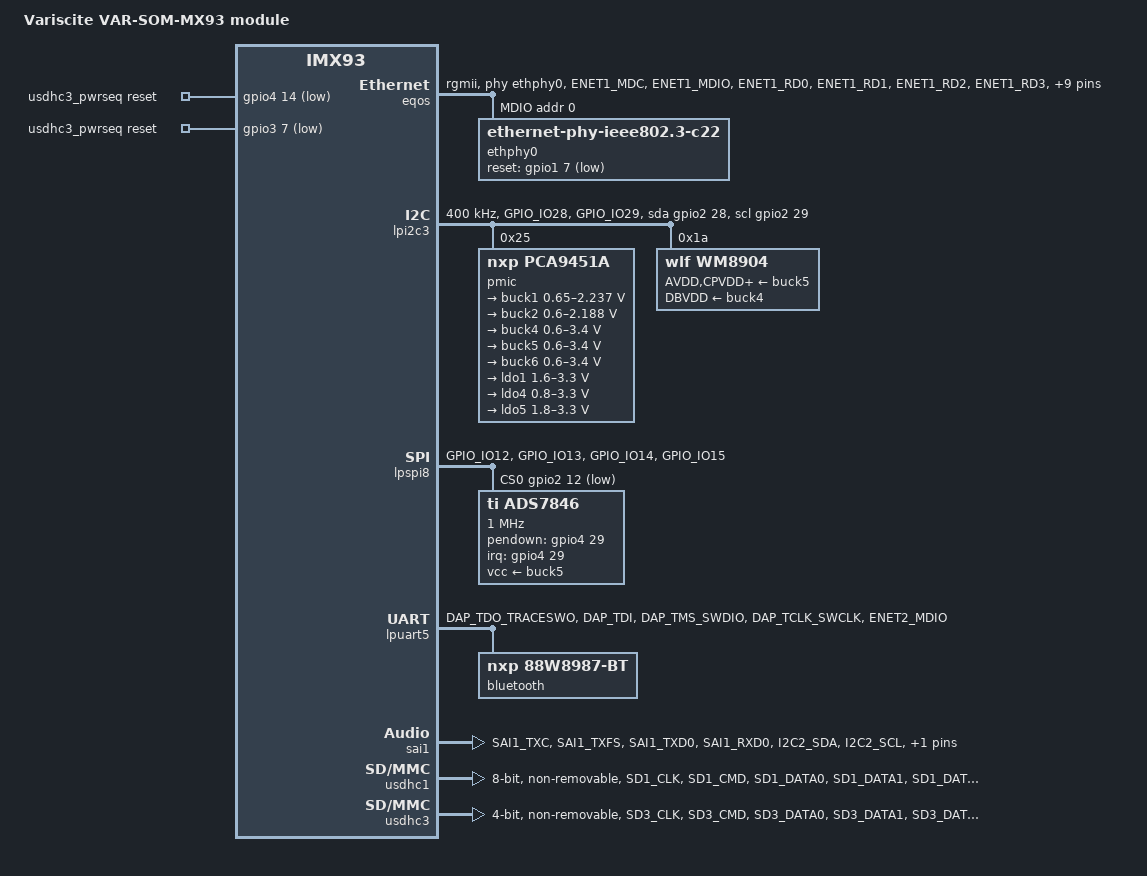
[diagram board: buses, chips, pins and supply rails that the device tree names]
// SPDX-License-Identifier: (GPL-2.0+ OR MIT)
/*
 * Copyright 2022 NXP
 * Copyright 2023 Variscite Ltd.
 */

/dts-v1/;

#include "imx93.dtsi"

/{
	model = "Variscite VAR-SOM-MX93 module";
	compatible = "variscite,var-som-mx93", "fsl,imx93";

	sound {
		compatible = "simple-audio-card";
		simple-audio-card,bitclock-master = <&codec_dai>;
		simple-audio-card,format = "i2s";
		simple-audio-card,frame-master = <&codec_dai>;
		simple-audio-card,name = "wm8904-audio";
		simple-audio-card,routing =
			"Headphone Jack", "HPOUTL",
			"Headphone Jack", "HPOUTR",
			"IN2L", "Line In Jack",
			"IN2R", "Line In Jack",
			"IN1L", "Microphone Jack",
			"IN1R", "Microphone Jack";
		simple-audio-card,widgets =
			"Microphone", "Microphone Jack",
			"Headphone", "Headphone Jack",
			"Line", "Line In Jack";
		simple-audio-card,mclk-fs = <256>;

		codec_dai: simple-audio-card,codec {
			sound-dai = <&wm8904>;
		};

		simple-audio-card,cpu {
			sound-dai = <&sai1>;
		};
	};

	usdhc3_pwrseq: mmc-pwrseq {
		compatible = "mmc-pwrseq-simple";
		post-power-on-delay-ms = <100>;
		power-off-delay-us = <10000>;
		reset-gpios = <&gpio4 14 GPIO_ACTIVE_LOW>,	/* WIFI_RESET */
			      <&gpio3 7 GPIO_ACTIVE_LOW>;	/* WIFI_PWR_EN */
	};
};

&eqos {
	pinctrl-names = "default";
	pinctrl-0 = <&pinctrl_eqos>;
	/*
	 * The required RGMII TX and RX 2ns delays are implemented directly
	 * in hardware via passive delay elements on the SOM PCB.
	 * No delay configuration is needed in software via PHY driver.
	 */
	phy-mode = "rgmii";
	phy-handle = <&ethphy0>;
	snps,clk-csr = <5>;
	status = "okay";

	mdio {
		compatible = "snps,dwmac-mdio";
		#address-cells = <1>;
		#size-cells = <0>;
		clock-frequency = <1000000>;

		ethphy0: ethernet-phy@0 {
			compatible = "ethernet-phy-ieee802.3-c22";
			reg = <0>;
			eee-broken-1000t;
			reset-gpios = <&gpio1 7 GPIO_ACTIVE_LOW>;
			reset-assert-us = <10000>;
			reset-deassert-us = <100000>;

			leds {
				#address-cells = <1>;
				#size-cells = <0>;

				led@0 {
					reg = <0>;
					color = <LED_COLOR_ID_YELLOW>;
					function = LED_FUNCTION_LAN;
					linux,default-trigger = "netdev";
				};

				led@1 {
					reg = <1>;
					color = <LED_COLOR_ID_GREEN>;
					function = LED_FUNCTION_LAN;
					linux,default-trigger = "netdev";
				};
			};
		};
	};
};

&lpi2c3 {
	clock-frequency = <400000>;
	pinctrl-names = "default", "sleep", "gpio";
	pinctrl-0 = <&pinctrl_lpi2c3>;
	pinctrl-1 = <&pinctrl_lpi2c3_gpio>;
	pinctrl-2 = <&pinctrl_lpi2c3_gpio>;
	scl-gpios = <&gpio2 29 GPIO_ACTIVE_HIGH>;
	sda-gpios = <&gpio2 28 GPIO_ACTIVE_HIGH>;
	status = "okay";

	pmic@25 {
		compatible = "nxp,pca9451a";
		reg = <0x25>;

		regulators {
			buck1: BUCK1 {
				regulator-name = "BUCK1";
				regulator-min-microvolt = <650000>;
				regulator-max-microvolt = <2237500>;
				regulator-boot-on;
				regulator-always-on;
				regulator-ramp-delay = <3125>;
			};

			buck2: BUCK2 {
				regulator-name = "BUCK2";
				regulator-min-microvolt = <600000>;
				regulator-max-microvolt = <2187500>;
				regulator-boot-on;
				regulator-always-on;
				regulator-ramp-delay = <3125>;
			};

			buck4: BUCK4 {
				regulator-name = "BUCK4";
				regulator-min-microvolt = <600000>;
				regulator-max-microvolt = <3400000>;
				regulator-boot-on;
				regulator-always-on;
			};

			buck5: BUCK5 {
				regulator-name = "BUCK5";
				regulator-min-microvolt = <600000>;
				regulator-max-microvolt = <3400000>;
				regulator-boot-on;
				regulator-always-on;
			};

			buck6: BUCK6 {
				regulator-name = "BUCK6";
				regulator-min-microvolt = <600000>;
				regulator-max-microvolt = <3400000>;
				regulator-boot-on;
				regulator-always-on;
			};

			ldo1: LDO1 {
				regulator-name = "LDO1";
				regulator-min-microvolt = <1600000>;
				regulator-max-microvolt = <3300000>;
				regulator-boot-on;
				regulator-always-on;
			};

			ldo4: LDO4 {
				regulator-name = "LDO4";
				regulator-min-microvolt = <800000>;
				regulator-max-microvolt = <3300000>;
				regulator-boot-on;
				regulator-always-on;
			};

			ldo5: LDO5 {
				regulator-name = "LDO5";
				regulator-min-microvolt = <1800000>;
				regulator-max-microvolt = <3300000>;
				regulator-boot-on;
				regulator-always-on;
			};
		};
	};

	wm8904: audio-codec@1a {
		compatible = "wlf,wm8904";
		reg = <0x1a>;
		#sound-dai-cells = <0>;
		clocks = <&clk IMX93_CLK_SAI1_GATE>;
		clock-names = "mclk";
		AVDD-supply = <&buck5>;
		CPVDD-supply = <&buck5>;
		DBVDD-supply = <&buck4>;
		DCVDD-supply = <&buck5>;
		MICVDD-supply = <&buck5>;
		wlf,drc-cfg-names = "default", "peaklimiter", "tradition",
				    "soft", "music";
		/*
		 * Config registers per name, respectively:
		 * KNEE_IP = 0,   KNEE_OP = 0,     HI_COMP = 1,   LO_COMP = 1
		 * KNEE_IP = -24, KNEE_OP = -6,    HI_COMP = 1/4, LO_COMP = 1
		 * KNEE_IP = -42, KNEE_OP = -3,    HI_COMP = 0,   LO_COMP = 1
		 * KNEE_IP = -45, KNEE_OP = -9,    HI_COMP = 1/8, LO_COMP = 1
		 * KNEE_IP = -30, KNEE_OP = -10.5, HI_COMP = 1/4, LO_COMP = 1
		 */
		wlf,drc-cfg-regs = /bits/ 16 <0x01af 0x3248 0x0000 0x0000>,
				   /bits/ 16 <0x04af 0x324b 0x0010 0x0408>,
				   /bits/ 16 <0x04af 0x324b 0x0028 0x0704>,
				   /bits/ 16 <0x04af 0x324b 0x0018 0x078c>,
				   /bits/ 16 <0x04af 0x324b 0x0010 0x050e>;
		/* GPIO1 = DMIC_CLK, don't touch others */
		wlf,gpio-cfg = <0x0018>, <0xffff>, <0xffff>, <0xffff>;
	};
};

&lpspi8 {
	pinctrl-names = "default";
	pinctrl-0 = <&pinctrl_lpspi8>;
	cs-gpios = <&gpio2 12 GPIO_ACTIVE_LOW>;
	status = "okay";

	/* Resistive touch controller */
	ads7846: touchscreen@0 {
		compatible = "ti,ads7846";
		reg = <0>;
		pinctrl-names = "default";
		pinctrl-0 = <&pinctrl_restouch>;
		interrupt-parent = <&gpio4>;
		interrupts = <29 IRQ_TYPE_EDGE_FALLING>;
		spi-max-frequency = <1000000>;
		pendown-gpio = <&gpio4 29 0>;
		vcc-supply = <&buck5>;
		ti,x-min = /bits/ 16 <125>;
		ti,x-max = /bits/ 16 <4008>;
		ti,y-min = /bits/ 16 <282>;
		ti,y-max = /bits/ 16 <3864>;
		ti,x-plate-ohms = /bits/ 16 <180>;
		ti,pressure-max = /bits/ 16 <255>;
		ti,debounce-max = /bits/ 16 <10>;
		ti,debounce-tol = /bits/ 16 <3>;
		ti,debounce-rep = /bits/ 16 <1>;
		ti,settle-delay-usec = /bits/ 16 <150>;
		ti,keep-vref-on;
		wakeup-source;
	};
};

/* BT module */
&lpuart5 {
	pinctrl-names = "default";
	pinctrl-0 = <&pinctrl_lpuart5>, <&pinctrl_bluetooth>;
	uart-has-rtscts;
	status = "okay";

	bluetooth {
		compatible = "nxp,88w8987-bt";
	};
};

&sai1 {
	pinctrl-names = "default", "sleep";
	pinctrl-0 = <&pinctrl_sai1>;
	pinctrl-1 = <&pinctrl_sai1_sleep>;
	assigned-clocks = <&clk IMX93_CLK_SAI1>;
	assigned-clock-parents = <&clk IMX93_CLK_AUDIO_PLL>;
	assigned-clock-rates = <12288000>;
	fsl,sai-mclk-direction-output;
	status = "okay";
};

/* eMMC */
&usdhc1 {
	pinctrl-names = "default", "state_100mhz", "state_200mhz";
	pinctrl-0 = <&pinctrl_usdhc1>;
	pinctrl-1 = <&pinctrl_usdhc1>;
	pinctrl-2 = <&pinctrl_usdhc1>;
	bus-width = <8>;
	non-removable;
	status = "okay";
};

/* WiFi */
&usdhc3 {
	pinctrl-names = "default", "state_100mhz", "state_200mhz", "sleep";
	pinctrl-0 = <&pinctrl_usdhc3>, <&pinctrl_usdhc3_wlan>;
	pinctrl-1 = <&pinctrl_usdhc3_100mhz>, <&pinctrl_usdhc3_wlan>;
	pinctrl-2 = <&pinctrl_usdhc3_200mhz>, <&pinctrl_usdhc3_wlan>;
	pinctrl-3 = <&pinctrl_usdhc3_sleep>, <&pinctrl_usdhc3_wlan>;
	bus-width = <4>;
	mmc-pwrseq = <&usdhc3_pwrseq>;
	non-removable;
	wakeup-source;
	status = "okay";
};

&iomuxc {
	pinctrl_bluetooth: bluetoothgrp {
		fsl,pins = <
			MX93_PAD_ENET2_MDIO__GPIO4_IO15		0x51e
		>;
	};

	pinctrl_eqos: eqosgrp {
		fsl,pins = <
			MX93_PAD_ENET1_MDC__ENET_QOS_MDC			0x57e
			MX93_PAD_ENET1_MDIO__ENET_QOS_MDIO			0x57e
			MX93_PAD_ENET1_RD0__ENET_QOS_RGMII_RD0			0x57e
			MX93_PAD_ENET1_RD1__ENET_QOS_RGMII_RD1			0x57e
			MX93_PAD_ENET1_RD2__ENET_QOS_RGMII_RD2			0x57e
			MX93_PAD_ENET1_RD3__ENET_QOS_RGMII_RD3			0x57e
			MX93_PAD_ENET1_RXC__CCM_ENET_QOS_CLOCK_GENERATE_RX_CLK	0x58e
			MX93_PAD_ENET1_RX_CTL__ENET_QOS_RGMII_RX_CTL		0x57e
			MX93_PAD_ENET1_TD0__ENET_QOS_RGMII_TD0			0x57e
			MX93_PAD_ENET1_TD1__ENET_QOS_RGMII_TD1			0x57e
			MX93_PAD_ENET1_TD2__ENET_QOS_RGMII_TD2			0x57e
			MX93_PAD_ENET1_TD3__ENET_QOS_RGMII_TD3			0x57e
			MX93_PAD_ENET1_TXC__CCM_ENET_QOS_CLOCK_GENERATE_TX_CLK	0x58e
			MX93_PAD_ENET1_TX_CTL__ENET_QOS_RGMII_TX_CTL		0x57e
			MX93_PAD_UART2_TXD__GPIO1_IO07				0x51e
		>;
	};

	pinctrl_reg_eqos_phy: regeqosgrp {
		fsl,pins = <
			MX93_PAD_UART2_TXD__GPIO1_IO07			0x51e
		>;
	};

	pinctrl_lpi2c3: lpi2c3grp {
		fsl,pins = <
			MX93_PAD_GPIO_IO28__LPI2C3_SDA		0x40000b9e
			MX93_PAD_GPIO_IO29__LPI2C3_SCL		0x40000b9e
		>;
	};

	pinctrl_lpi2c3_gpio: lpi2c3-gpiogrp {
		fsl,pins = <
			MX93_PAD_GPIO_IO28__GPIO2_IO28		0x40000b9e
			MX93_PAD_GPIO_IO29__GPIO2_IO29		0x40000b9e
		>;
	};

	pinctrl_lpspi8: lpspi8grp {
		fsl,pins = <
			MX93_PAD_GPIO_IO12__GPIO2_IO12		0x31e
			MX93_PAD_GPIO_IO13__LPSPI8_SIN		0x31e
			MX93_PAD_GPIO_IO14__LPSPI8_SOUT		0x31e
			MX93_PAD_GPIO_IO15__LPSPI8_SCK		0x31e
		>;
	};

	pinctrl_lpuart5: lpuart5grp {
		fsl,pins = <
			MX93_PAD_DAP_TDO_TRACESWO__LPUART5_TX   0x31e
			MX93_PAD_DAP_TDI__LPUART5_RX            0x31e
			MX93_PAD_DAP_TMS_SWDIO__LPUART5_RTS_B   0x31e
			MX93_PAD_DAP_TCLK_SWCLK__LPUART5_CTS_B  0x31e
		>;
	};

	pinctrl_restouch: restouchgrp {
		fsl,pins = <
			MX93_PAD_CCM_CLKO4__GPIO4_IO29		0x31e
		>;
	};

	pinctrl_sai1: sai1grp {
		fsl,pins = <
			MX93_PAD_SAI1_TXC__SAI1_TX_BCLK		0x31e
			MX93_PAD_SAI1_TXFS__SAI1_TX_SYNC	0x31e
			MX93_PAD_SAI1_TXD0__SAI1_TX_DATA00	0x31e
			MX93_PAD_SAI1_RXD0__SAI1_RX_DATA00	0x31e
			MX93_PAD_I2C2_SDA__SAI1_RX_BCLK		0x31e
			MX93_PAD_I2C2_SCL__SAI1_RX_SYNC		0x31e
			MX93_PAD_UART2_RXD__SAI1_MCLK		0x31e
		>;
	};

	pinctrl_sai1_sleep: sai1-sleepgrp {
		fsl,pins = <
			MX93_PAD_SAI1_TXC__GPIO1_IO12		0x31e
			MX93_PAD_SAI1_TXFS__GPIO1_IO11		0x31e
			MX93_PAD_SAI1_TXD0__GPIO1_IO13		0x31e
			MX93_PAD_SAI1_RXD0__GPIO1_IO14		0x31e
			MX93_PAD_UART2_RXD__GPIO1_IO06		0x31e
			MX93_PAD_I2C2_SDA__GPIO1_IO03		0x31e
			MX93_PAD_I2C2_SCL__GPIO1_IO02		0x31e
		>;
	};

	pinctrl_usdhc1: usdhc1grp {
		fsl,pins = <
			MX93_PAD_SD1_CLK__USDHC1_CLK		0x15fe
			MX93_PAD_SD1_CMD__USDHC1_CMD		0x13fe
			MX93_PAD_SD1_DATA0__USDHC1_DATA0	0x13fe
			MX93_PAD_SD1_DATA1__USDHC1_DATA1	0x13fe
			MX93_PAD_SD1_DATA2__USDHC1_DATA2	0x13fe
			MX93_PAD_SD1_DATA3__USDHC1_DATA3	0x13fe
			MX93_PAD_SD1_DATA4__USDHC1_DATA4	0x13fe
			MX93_PAD_SD1_DATA5__USDHC1_DATA5	0x13fe
			MX93_PAD_SD1_DATA6__USDHC1_DATA6	0x13fe
			MX93_PAD_SD1_DATA7__USDHC1_DATA7	0x13fe
			MX93_PAD_SD1_STROBE__USDHC1_STROBE	0x15fe
		>;
	};

	pinctrl_usdhc3: usdhc3grp {
		fsl,pins = <
			MX93_PAD_SD3_CLK__USDHC3_CLK		0x1582 /* SDIO_B_CLK */
			MX93_PAD_SD3_CMD__USDHC3_CMD		0x40001382 /* SDIO_B_CMD */
			MX93_PAD_SD3_DATA0__USDHC3_DATA0	0x40001382 /* SDIO_B_D0 */
			MX93_PAD_SD3_DATA1__USDHC3_DATA1	0x40001382 /* SDIO_B_D1 */
			MX93_PAD_SD3_DATA2__USDHC3_DATA2	0x40001382 /* SDIO_B_D2 */
			MX93_PAD_SD3_DATA3__USDHC3_DATA3	0x40001382 /* SDIO_B_D3 */
		>;
	};

	pinctrl_usdhc3_100mhz: usdhc3-100mhzgrp {
		fsl,pins = <
			MX93_PAD_SD3_CLK__USDHC3_CLK		0x158e /* SDIO_B_CLK */
			MX93_PAD_SD3_CMD__USDHC3_CMD		0x4000138e /* SDIO_B_CMD */
			MX93_PAD_SD3_DATA0__USDHC3_DATA0	0x4000138e /* SDIO_B_D0 */
			MX93_PAD_SD3_DATA1__USDHC3_DATA1	0x4000138e /* SDIO_B_D1 */
			MX93_PAD_SD3_DATA2__USDHC3_DATA2	0x4000138e /* SDIO_B_D2 */
			MX93_PAD_SD3_DATA3__USDHC3_DATA3	0x4000138e /* SDIO_B_D3 */
		>;
	};

	pinctrl_usdhc3_200mhz: usdhc3-200mhzgrp {
		fsl,pins = <
			MX93_PAD_SD3_CLK__USDHC3_CLK		0x15fe /* SDIO_B_CLK */
			MX93_PAD_SD3_CMD__USDHC3_CMD		0x400013fe /* SDIO_B_CMD */
			MX93_PAD_SD3_DATA0__USDHC3_DATA0	0x400013fe /* SDIO_B_D0 */
			MX93_PAD_SD3_DATA1__USDHC3_DATA1	0x400013fe /* SDIO_B_D1 */
			MX93_PAD_SD3_DATA2__USDHC3_DATA2	0x400013fe /* SDIO_B_D2 */
			MX93_PAD_SD3_DATA3__USDHC3_DATA3	0x400013fe /* SDIO_B_D3 */
		>;
	};

	pinctrl_usdhc3_sleep: usdhc3-sleepgrp {
		fsl,pins = <
			MX93_PAD_SD3_CLK__GPIO3_IO20		0x400
			MX93_PAD_SD3_CMD__GPIO3_IO21		0x400
			MX93_PAD_SD3_DATA0__GPIO3_IO22		0x400
			MX93_PAD_SD3_DATA1__GPIO3_IO23		0x400
			MX93_PAD_SD3_DATA2__GPIO3_IO24		0x400
			MX93_PAD_SD3_DATA3__GPIO3_IO25		0x400
		>;
	};

	pinctrl_usdhc3_wlan: usdhc3-wlangrp {
		fsl,pins = <
			MX93_PAD_ENET2_MDC__GPIO4_IO14		0x51e /* WIFI_REG_ON     */
			MX93_PAD_SD2_RESET_B__GPIO3_IO07	0x51e /* WIFI_PWR_EN     */
		>;
	};
};
